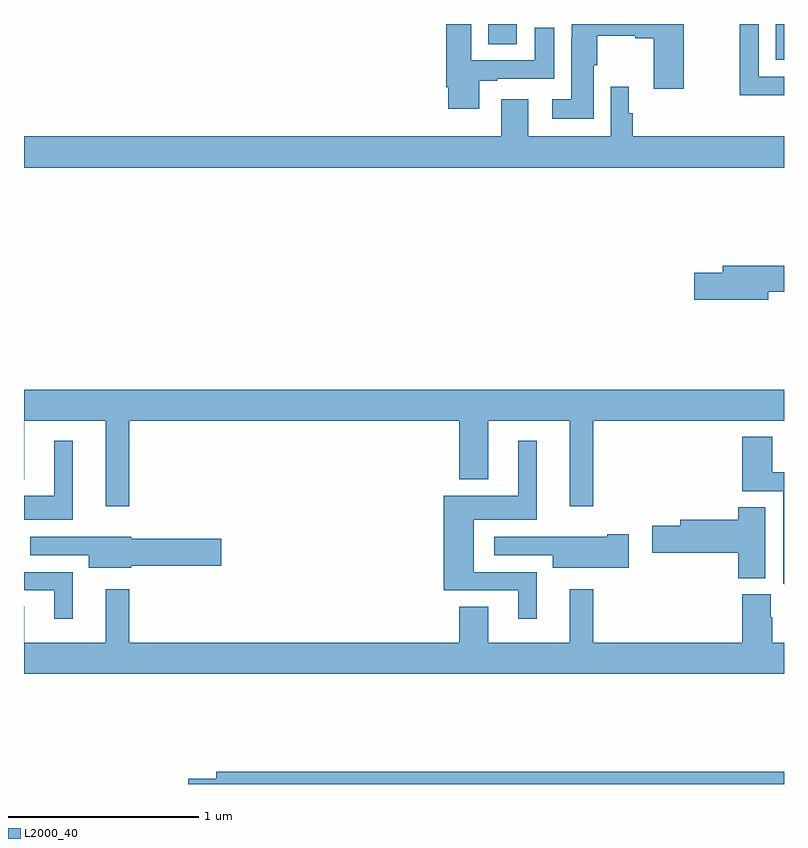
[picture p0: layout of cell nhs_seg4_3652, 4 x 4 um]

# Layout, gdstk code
import gdstk
lib = gdstk.Library(unit=1e-6, precision=1e-09)
def R(c, l, rs):  # rectangles x0, y0, x1, y1
    for r in rs: c.add(gdstk.rectangle(r[:2], r[2:], *l))
def P(c, l, *ps):  # polygons
    for p in ps: c.add(gdstk.Polygon(p, *l))
L2000_40 = (2000, 40)

nhs_seg4_3652 = lib.new_cell('nhs_seg4_3652')
R(nhs_seg4_3652, L2000_40, [(306.956,806.711,307,806.9), (305.444,806.794,305.593,806.9)])
P(nhs_seg4_3652, L2000_40, [(305.998,806.682),(306.016,806.682),(306.016,806.839),(306.218,806.839),(306.218,806.824),(306.314,806.824),(306.314,806.559),(306.472,806.559),(306.472,806.9),(305.883,806.9),(305.883,806.822),(305.879,806.822),(305.879,806.503),(305.781,806.503),(305.781,806.402),(305.998,806.402)],
  [(307,806.622),(306.867,806.622),(306.867,806.9),(306.766,806.9),(306.766,806.525),(307,806.525)],
  [(305.395,806.601),(305.491,806.601),(305.491,806.613),(305.791,806.613),(305.791,806.881),(305.687,806.881),(305.687,806.709),(305.353,806.709),(305.353,806.9),(305.222,806.9),(305.222,806.566),(305.234,806.566),(305.234,806.454),(305.395,806.454)],
  [(307,806.308),(306.203,806.308),(306.203,806.43),(306.184,806.43),(306.184,806.569),(306.087,806.569),(306.087,806.308),(305.653,806.308),(305.653,806.503),(305.513,806.503),(305.513,806.308),(303,806.308),(303,806.144),(307,806.144)],
  [(306.916,805.492),(307,805.492),(307,805.628),(306.677,805.628),(306.677,805.592),(306.528,805.592),(306.528,805.45),(306.916,805.45)],
  [(303.553,804.812),(305.291,804.812),(305.291,804.503),(305.443,804.503),(305.443,804.812),(305.873,804.812),(305.873,804.363),(305.995,804.363),(305.995,804.812),(307,804.812),(307,804.976),(303,804.976),(303,804.503),(303.001,804.503),(303.001,804.812),(303.431,804.812),(303.431,804.363),(303.553,804.363)],
  [(307,804.542),(306.939,804.542),(306.939,804.727),(306.779,804.727),(306.779,804.441),(306.996,804.441),(306.996,803.955),(307,803.951)],
  [(305.698,804.015),(305.368,804.015),(305.368,804.29),(305.698,804.29),(305.698,804.706),(305.6,804.706),(305.6,804.418),(305.21,804.418),(305.21,803.919),(305.6,803.919),(305.6,803.769),(305.698,803.769)],
  [(303.256,804.706),(303.158,804.706),(303.158,804.418),(303,804.418),(303,804.29),(303.256,804.29)],
  [(306.901,804.356),(306.758,804.356),(306.758,804.29),(306.455,804.29),(306.455,804.26),(306.306,804.26),(306.306,804.118),(306.758,804.118),(306.758,803.983),(306.901,803.983)],
  [(306.184,804.215),(306.071,804.215),(306.071,804.202),(305.787,804.202),(305.787,804.201),(305.475,804.201),(305.475,804.105),(305.783,804.105),(305.783,804.037),(306.184,804.037)],
  [(303.564,804.049),(304.039,804.049),(304.039,804.191),(303.564,804.191),(303.564,804.202),(303.345,804.202),(303.345,804.201),(303.033,804.201),(303.033,804.105),(303.341,804.105),(303.341,804.038),(303.564,804.038)],
  [(303.256,804.015),(303,804.015),(303,803.919),(303.158,803.919),(303.158,803.769),(303.256,803.769)],
  [(307,803.644),(306.939,803.644),(306.939,803.777),(306.93,803.777),(306.93,803.898),(306.779,803.898),(306.779,803.644),(305.995,803.644),(305.995,803.926),(305.873,803.926),(305.873,803.644),(305.443,803.644),(305.443,803.834),(305.291,803.834),(305.291,803.644),(303.553,803.644),(303.553,803.926),(303.431,803.926),(303.431,803.644),(303.001,803.644),(303.001,803.834),(303,803.834),(303,803.48),(307,803.48)],
  [(307,802.964),(304.013,802.964),(304.013,802.928),(303.864,802.928),(303.864,802.9),(307,802.9)])

lib.write_gds('nhs_seg4_3652.gds')
